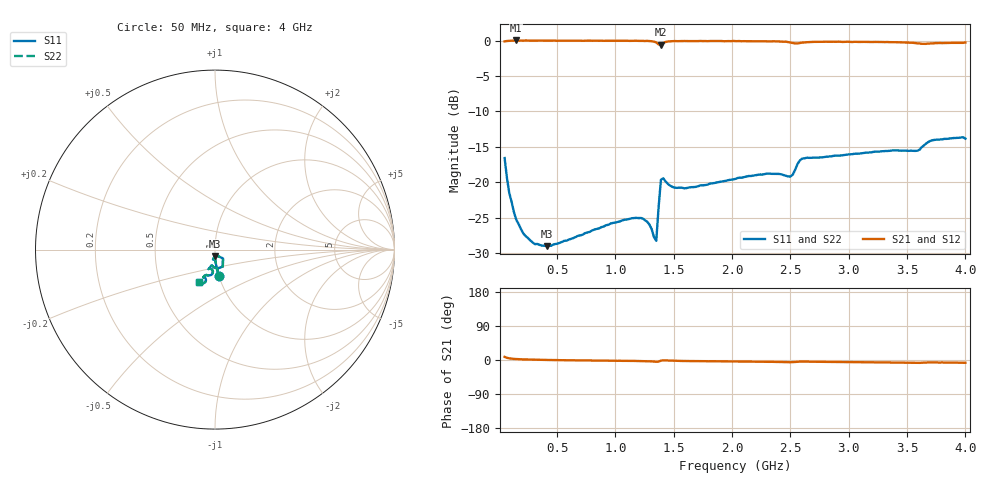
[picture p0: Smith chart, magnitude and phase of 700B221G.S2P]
!  American Technical Ceramics  Date:  3/13/98
!  One Norden Lane
!  Huntington Station,  NY.  11746-2102
!  Tel:  (516) 547-5700  Fax:  (516) 547-5748
!  Part Number  700B221G
!  Description: Porcelain, High Q, Low ESR
!  Application: Bypass, Coupling, Timing, Feedback
!  Tuning, Impedance Match, Blocking
# GHZ S DB R 50
! Freq  |S11|  S11 Ph  |S21|  S21 Ph  |S12|  S12 Ph  |S22|  S22 Ph
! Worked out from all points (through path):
!   201 points, 50 MHz to 4 GHz, reference 50 ohm
!   highest |S21| = 0.02 dB at 150 MHz (marker M1); lowest = -0.6 dB at 1.39 GHz (marker M2)
!   group delay of S21, straight-line fit = 6.28 ps
!   lowest |S11| = -29.1 dB at 410 MHz (marker M3), VSWR 1.07, Z = 49.8 - j3.52 ohm
!   |S11| at or under -10 dB: start of sweep to end of sweep
!   |S22| runs from -29.1 to -13.7 dB; largest |S21 - S12| = 0
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0.05  -16.60 -81.9  -0.11 8.3  -0.11 8.3  -16.60 -81.9
0.09  -21.54 -86.1  -0.03 4.4  -0.03 4.4  -21.54 -86.1
0.15  -25.32 -88.6  0.02 2.5  0.02 2.5  -25.32 -88.6
0.29  -28.52 -90.1  0.00 0.8  0.00 0.8  -28.52 -90.1
0.41  -29.05 -91.3  0.00 0.1  0.00 0.1  -29.05 -91.3
0.72  -27.42 -95.5  -0.03 -1.1  -0.03 -1.1  -27.42 -95.5
1.22  -25.07 -101.1  -0.04 -2.8  -0.04 -2.8  -25.07 -101.1
1.29  -25.96 -99.8  -0.06 -3.5  -0.06 -3.5  -25.96 -99.8
1.35  -28.30 -68.0  -0.26 -4.7  -0.26 -4.7  -28.30 -68.0
1.37  -23.57 -47.6  -0.54 -4.2  -0.54 -4.2  -23.57 -47.6
1.39  -19.67 -65.2  -0.59 -1.7  -0.59 -1.7  -19.67 -65.2
1.45  -20.26 -94.7  -0.13 -1.5  -0.13 -1.5  -20.26 -94.7
1.59  -20.87 -101.6  -0.06 -2.5  -0.06 -2.5  -20.87 -101.6
2.03  -19.54 -106.3  -0.08 -4.0  -0.08 -4.0  -19.54 -106.3
2.3  -18.79 -108.2  -0.11 -4.7  -0.11 -4.7  -18.79 -108.2
2.5  -19.21 -102.1  -0.26 -5.9  -0.26 -5.9  -19.21 -102.1
2.6  -16.68 -101.3  -0.29 -4.2  -0.29 -4.2  -16.68 -101.3
2.7  -16.53 -107.2  -0.18 -4.5  -0.18 -4.5  -16.53 -107.2
3.35  -15.58 -113.0  -0.22 -6.6  -0.22 -6.6  -15.58 -113.0
3.59  -15.55 -109.1  -0.39 -7.5  -0.39 -7.5  -15.55 -109.1
3.72  -14.07 -109.1  -0.40 -6.5  -0.40 -6.5  -14.07 -109.1
4  -13.85 -115.7  -0.27 -7.4  -0.27 -7.4  -13.85 -115.7
